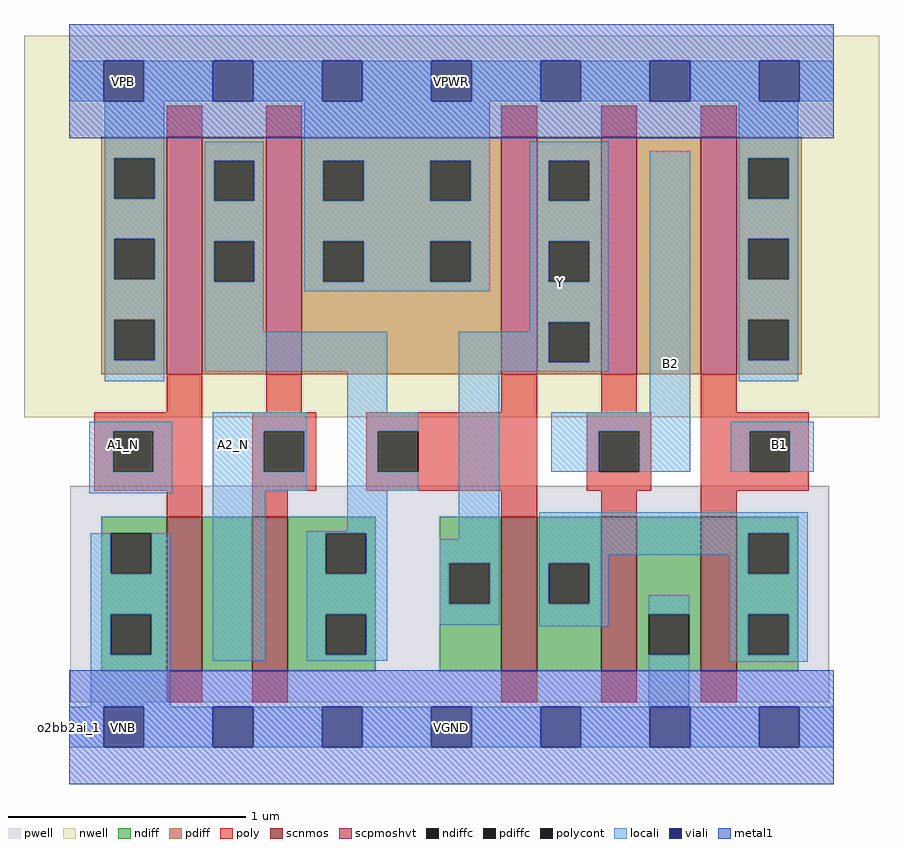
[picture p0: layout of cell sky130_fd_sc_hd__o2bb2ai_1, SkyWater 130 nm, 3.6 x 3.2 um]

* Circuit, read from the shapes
.subckt sky130_fd_sc_hd__o2bb2ai_1 A1_N A2_N B1 B2 VGND VNB VPB VPWR Y
XM1 n1 A1_N VGND VNB sky130_fd_pr__nfet_01v8 w=0.65 l=0.15
XM2 n2 A2_N n1 VNB sky130_fd_pr__nfet_01v8 w=0.65 l=0.15
XM3 n3 n2 Y VNB sky130_fd_pr__nfet_01v8 w=0.65 l=0.15
XM4 VGND B2 n3 VNB sky130_fd_pr__nfet_01v8 w=0.65 l=0.15
XM5 n3 B1 VGND VNB sky130_fd_pr__nfet_01v8 w=0.65 l=0.15
XM6 n2 A1_N VPWR VPB sky130_fd_pr__pfet_01v8_hvt w=1 l=0.15
XM7 VPWR A2_N n2 VPB sky130_fd_pr__pfet_01v8_hvt w=1 l=0.15
XM8 Y n2 VPWR VPB sky130_fd_pr__pfet_01v8_hvt w=1 l=0.15
XM9 n4 B2 Y VPB sky130_fd_pr__pfet_01v8_hvt w=1 l=0.15
XM10 VPWR B1 n4 VPB sky130_fd_pr__pfet_01v8_hvt w=1 l=0.15
.ends

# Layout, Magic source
magic
tech sky130A
magscale 1 2
<< nwell >>
rect -38 261 682 582
<< pwell >>
rect 1 21 640 203
rect 29 -17 63 21
<< scnmos >>
rect 82 47 112 177
rect 154 47 184 177
rect 364 47 394 177
rect 448 47 478 177
rect 532 47 562 177
<< scpmoshvt >>
rect 82 297 112 497
rect 166 297 196 497
rect 364 297 394 497
rect 448 297 478 497
rect 532 297 562 497
<< ndiff >>
rect 27 163 82 177
rect 27 129 35 163
rect 69 129 82 163
rect 27 95 82 129
rect 27 61 35 95
rect 69 61 82 95
rect 27 47 82 61
rect 112 47 154 177
rect 184 163 258 177
rect 184 129 216 163
rect 250 129 258 163
rect 184 95 258 129
rect 184 61 216 95
rect 250 61 258 95
rect 184 47 258 61
rect 312 138 364 177
rect 312 104 320 138
rect 354 104 364 138
rect 312 47 364 104
rect 394 138 448 177
rect 394 104 404 138
rect 438 104 448 138
rect 394 47 448 104
rect 478 95 532 177
rect 478 61 488 95
rect 522 61 532 95
rect 478 47 532 61
rect 562 163 614 177
rect 562 129 572 163
rect 606 129 614 163
rect 562 95 614 129
rect 562 61 572 95
rect 606 61 614 95
rect 562 47 614 61
<< pdiff >>
rect 27 479 82 497
rect 27 445 38 479
rect 72 445 82 479
rect 27 411 82 445
rect 27 377 38 411
rect 72 377 82 411
rect 27 343 82 377
rect 27 309 38 343
rect 72 309 82 343
rect 27 297 82 309
rect 112 477 166 497
rect 112 443 122 477
rect 156 443 166 477
rect 112 409 166 443
rect 112 375 122 409
rect 156 375 166 409
rect 112 297 166 375
rect 196 477 364 497
rect 196 443 214 477
rect 248 443 304 477
rect 338 443 364 477
rect 196 409 364 443
rect 196 375 214 409
rect 248 375 304 409
rect 338 375 364 409
rect 196 297 364 375
rect 394 477 448 497
rect 394 443 404 477
rect 438 443 448 477
rect 394 409 448 443
rect 394 375 404 409
rect 438 375 448 409
rect 394 341 448 375
rect 394 307 404 341
rect 438 307 448 341
rect 394 297 448 307
rect 478 297 532 497
rect 562 479 617 497
rect 562 445 572 479
rect 606 445 617 479
rect 562 411 617 445
rect 562 377 572 411
rect 606 377 617 411
rect 562 343 617 377
rect 562 309 572 343
rect 606 309 617 343
rect 562 297 617 309
<< ndiffc >>
rect 35 129 69 163
rect 35 61 69 95
rect 216 129 250 163
rect 216 61 250 95
rect 320 104 354 138
rect 404 104 438 138
rect 488 61 522 95
rect 572 129 606 163
rect 572 61 606 95
<< pdiffc >>
rect 38 445 72 479
rect 38 377 72 411
rect 38 309 72 343
rect 122 443 156 477
rect 122 375 156 409
rect 214 443 248 477
rect 304 443 338 477
rect 214 375 248 409
rect 304 375 338 409
rect 404 443 438 477
rect 404 375 438 409
rect 404 307 438 341
rect 572 445 606 479
rect 572 377 606 411
rect 572 309 606 343
<< poly >>
rect 82 497 112 523
rect 166 497 196 523
rect 364 497 394 523
rect 448 497 478 523
rect 532 497 562 523
rect 82 265 112 297
rect 166 265 196 297
rect 364 265 394 297
rect 448 265 478 297
rect 532 265 562 297
rect 21 249 112 265
rect 21 215 37 249
rect 71 215 112 249
rect 21 199 112 215
rect 82 177 112 199
rect 154 249 208 265
rect 154 215 164 249
rect 198 215 208 249
rect 154 199 208 215
rect 250 249 394 265
rect 250 215 260 249
rect 294 215 394 249
rect 250 199 394 215
rect 436 249 490 265
rect 436 215 446 249
rect 480 215 490 249
rect 436 199 490 215
rect 532 249 623 265
rect 532 215 573 249
rect 607 215 623 249
rect 532 199 623 215
rect 154 177 184 199
rect 364 177 394 199
rect 448 177 478 199
rect 532 177 562 199
rect 82 21 112 47
rect 154 21 184 47
rect 364 21 394 47
rect 448 21 478 47
rect 532 21 562 47
<< polycont >>
rect 37 215 71 249
rect 164 215 198 249
rect 260 215 294 249
rect 446 215 480 249
rect 573 215 607 249
<< locali >>
rect 0 527 29 561
rect 63 527 121 561
rect 155 527 213 561
rect 247 527 305 561
rect 339 527 397 561
rect 431 527 489 561
rect 523 527 581 561
rect 615 527 644 561
rect 30 479 80 527
rect 30 445 38 479
rect 72 445 80 479
rect 30 411 80 445
rect 30 377 38 411
rect 72 377 80 411
rect 30 343 80 377
rect 30 309 38 343
rect 72 309 80 343
rect 30 291 80 309
rect 114 477 164 493
rect 114 443 122 477
rect 156 443 164 477
rect 114 409 164 443
rect 114 375 122 409
rect 156 375 164 409
rect 114 333 164 375
rect 198 477 354 527
rect 198 443 214 477
rect 248 443 304 477
rect 338 443 354 477
rect 198 409 354 443
rect 198 375 214 409
rect 248 375 304 409
rect 338 375 354 409
rect 198 367 354 375
rect 388 477 454 493
rect 388 443 404 477
rect 438 443 454 477
rect 388 409 454 443
rect 388 375 404 409
rect 438 375 454 409
rect 388 341 454 375
rect 388 333 404 341
rect 114 299 268 333
rect 234 265 268 299
rect 328 307 404 333
rect 438 307 454 341
rect 328 299 454 307
rect 17 249 87 257
rect 17 215 37 249
rect 71 215 87 249
rect 17 197 87 215
rect 121 249 200 265
rect 121 215 164 249
rect 198 215 200 249
rect 121 199 200 215
rect 234 249 294 265
rect 234 215 260 249
rect 234 199 294 215
rect 18 129 35 163
rect 69 129 85 163
rect 18 95 85 129
rect 18 61 35 95
rect 69 61 85 95
rect 18 17 85 61
rect 121 56 165 199
rect 234 165 268 199
rect 200 163 268 165
rect 200 129 216 163
rect 250 129 268 163
rect 328 158 362 299
rect 489 265 523 485
rect 564 479 614 527
rect 564 445 572 479
rect 606 445 614 479
rect 564 411 614 445
rect 564 377 572 411
rect 606 377 614 411
rect 564 343 614 377
rect 564 309 572 343
rect 606 309 614 343
rect 564 291 614 309
rect 406 249 523 265
rect 406 215 446 249
rect 480 215 523 249
rect 557 249 627 257
rect 557 215 573 249
rect 607 215 627 249
rect 200 95 268 129
rect 200 61 216 95
rect 250 61 268 95
rect 312 138 362 158
rect 312 104 320 138
rect 354 104 362 138
rect 312 86 362 104
rect 396 163 622 181
rect 396 145 572 163
rect 396 138 454 145
rect 396 104 404 138
rect 438 104 454 138
rect 556 129 572 145
rect 606 129 622 163
rect 396 85 454 104
rect 488 95 522 111
rect 200 56 268 61
rect 488 17 522 61
rect 556 95 622 129
rect 556 61 572 95
rect 606 61 622 95
rect 556 55 622 61
rect 0 -17 29 17
rect 63 -17 121 17
rect 155 -17 213 17
rect 247 -17 305 17
rect 339 -17 397 17
rect 431 -17 489 17
rect 523 -17 581 17
rect 615 -17 644 17
<< viali >>
rect 29 527 63 561
rect 121 527 155 561
rect 213 527 247 561
rect 305 527 339 561
rect 397 527 431 561
rect 489 527 523 561
rect 581 527 615 561
rect 29 -17 63 17
rect 121 -17 155 17
rect 213 -17 247 17
rect 305 -17 339 17
rect 397 -17 431 17
rect 489 -17 523 17
rect 581 -17 615 17
<< metal1 >>
rect 0 561 644 592
rect 0 527 29 561
rect 63 527 121 561
rect 155 527 213 561
rect 247 527 305 561
rect 339 527 397 561
rect 431 527 489 561
rect 523 527 581 561
rect 615 527 644 561
rect 0 496 644 527
rect 0 17 644 48
rect 0 -17 29 17
rect 63 -17 121 17
rect 155 -17 213 17
rect 247 -17 305 17
rect 339 -17 397 17
rect 431 -17 489 17
rect 523 -17 581 17
rect 615 -17 644 17
rect 0 -48 644 -17
<< labels >>
flabel locali s 397 357 431 391 0 FreeSans 400 0 0 0 Y
port 9 nsew signal output
flabel locali s 29 221 63 255 0 FreeSans 200 0 0 0 A1_N
port 1 nsew signal input
flabel locali s 121 221 155 255 0 FreeSans 400 0 0 0 A2_N
port 2 nsew signal input
flabel locali s 489 289 523 323 0 FreeSans 400 0 0 0 B2
port 4 nsew signal input
flabel locali s 581 221 615 255 0 FreeSans 400 0 0 0 B1
port 3 nsew signal input
flabel nwell s 29 527 63 561 0 FreeSans 200 0 0 0 VPB
port 7 nsew power bidirectional
flabel pwell s 29 -17 63 17 0 FreeSans 200 0 0 0 VNB
port 6 nsew ground bidirectional
flabel metal1 s 29 -17 63 17 0 FreeSans 200 0 0 0 VGND
port 5 nsew ground bidirectional abutment
flabel metal1 s 29 527 63 561 0 FreeSans 200 0 0 0 VPWR
port 8 nsew power bidirectional abutment
rlabel comment s 0 0 0 0 4 o2bb2ai_1
rlabel metal1 s 0 -48 644 48 1 VGND
port 5 nsew ground bidirectional abutment
rlabel metal1 s 0 496 644 592 1 VPWR
port 8 nsew power bidirectional abutment
<< properties >>
string FIXED_BBOX 0 0 644 544
string GDS_END 1236666
string GDS_FILE $PDKPATH/libs.ref/sky130_fd_sc_hd/gds/sky130_fd_sc_hd.gds
string GDS_START 1230496
string LEFclass CORE
string LEFsite unithd
string LEFsymmetry X Y R90
string path 0.000 0.000 3.220 0.000 
<< end >>
